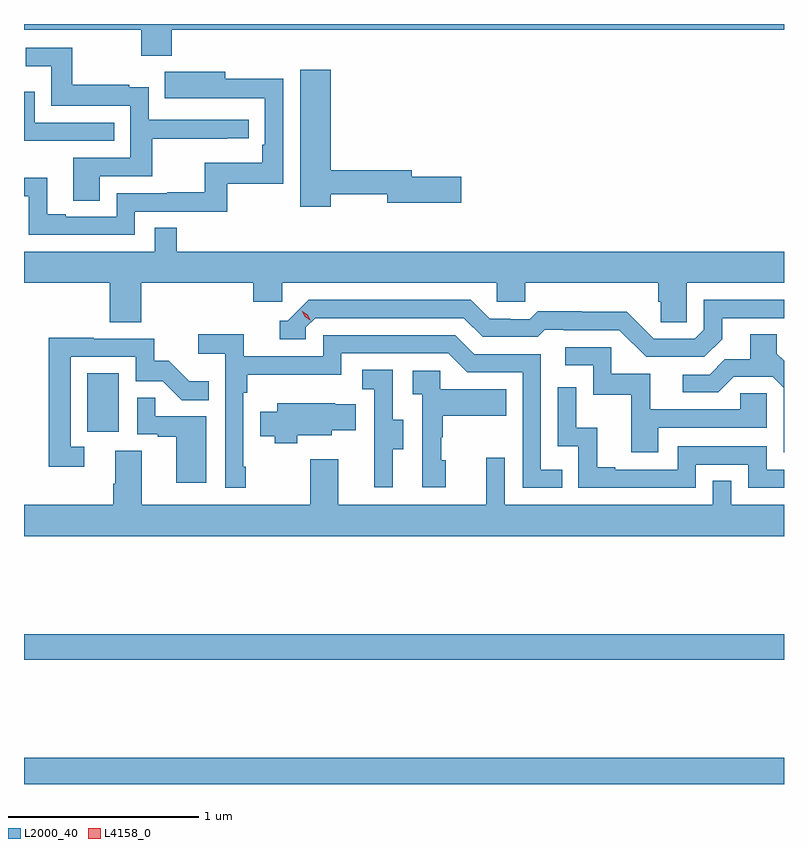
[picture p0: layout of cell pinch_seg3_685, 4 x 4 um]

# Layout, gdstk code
import gdstk
lib = gdstk.Library(unit=1e-6, precision=1e-09)
def R(c, l, rs):  # rectangles x0, y0, x1, y1
    for r in rs: c.add(gdstk.rectangle(r[:2], r[2:], *l))
def P(c, l, *ps):  # polygons
    for p in ps: c.add(gdstk.Polygon(p, *l))
L2000_40 = (2000, 40)
L4158_0 = (4158, 0)

pinch_seg3_685 = lib.new_cell('pinch_seg3_685')
R(pinch_seg3_685, L2000_40, [(1090.06,671.639,1094.06,671.776), (1090.06,672.292,1094.06,672.428), (1090.394,673.494,1090.558,673.801)])
P(pinch_seg3_685, L2000_40, [(1090.06,675.608),(1090.678,675.608),(1090.678,675.473),(1090.838,675.473),(1090.838,675.608),(1094.06,675.608),(1094.06,675.639),(1090.06,675.639)],
  [(1090.459,674.838),(1090.736,674.838),(1090.736,675.034),(1091.129,675.034),(1091.129,675.039),(1091.242,675.039),(1091.242,675.135),(1090.716,675.135),(1090.716,675.307),(1090.613,675.307),(1090.613,675.319),(1090.315,675.319),(1090.315,675.513),(1090.069,675.513),(1090.069,675.416),(1090.204,675.416),(1090.204,675.21),(1090.62,675.21),(1090.62,674.934),(1090.319,674.934),(1090.319,674.71),(1090.459,674.71)],
  [(1091.674,674.742),(1091.972,674.742),(1091.972,674.699),(1092.361,674.699),(1092.361,674.834),(1092.1,674.834),(1092.1,674.87),(1091.674,674.87),(1091.674,675.397),(1091.513,675.397),(1091.513,674.676),(1091.674,674.676)],
  [(1090.644,674.652),(1091.131,674.652),(1091.131,674.799),(1091.424,674.799),(1091.424,675.35),(1091.119,675.35),(1091.119,675.388),(1090.801,675.388),(1090.801,675.248),(1091.015,675.248),(1091.015,675.249),(1091.328,675.249),(1091.328,675.004),(1091.315,675.004),(1091.315,674.908),(1091.01,674.908),(1091.01,674.753),(1090.813,674.753),(1090.813,674.748),(1090.548,674.748),(1090.548,674.625),(1090.279,674.625),(1090.279,674.638),(1090.183,674.638),(1090.183,674.831),(1090.06,674.831),(1090.06,674.733),(1090.086,674.733),(1090.086,674.529),(1090.644,674.529)],
  [(1090.535,675.12),(1090.116,675.12),(1090.116,675.283),(1090.06,675.283),(1090.06,675.024),(1090.535,675.024)],
  [(1090.676,674.276),(1091.267,674.276),(1091.267,674.178),(1091.418,674.178),(1091.418,674.276),(1092.549,674.276),(1092.549,674.178),(1092.699,674.178),(1092.699,674.276),(1093.397,674.276),(1093.397,674.178),(1093.411,674.178),(1093.411,674.068),(1093.548,674.068),(1093.548,674.276),(1094.06,674.276),(1094.06,674.44),(1090.865,674.44),(1090.865,674.567),(1090.749,674.567),(1090.749,674.44),(1090.06,674.44),(1090.06,674.276),(1090.511,674.276),(1090.511,674.068),(1090.676,674.068)],
  [(1093.735,673.981),(1093.735,674.091),(1094.06,674.091),(1094.06,674.187),(1093.638,674.187),(1093.638,674.031),(1093.59,673.983),(1093.374,673.983),(1093.232,674.125),(1092.996,674.125),(1092.996,674.128),(1092.763,674.128),(1092.721,674.085),(1092.618,674.085),(1092.618,674.088),(1092.511,674.088),(1092.412,674.187),(1091.559,674.187),(1091.448,674.076),(1091.405,674.076),(1091.405,673.98),(1091.544,673.98),(1091.544,674.043),(1091.592,674.091),(1092.375,674.091),(1092.474,673.992),(1092.763,673.992),(1092.802,674.031),(1092.901,674.031),(1092.901,674.028),(1093.194,674.028),(1093.335,673.887),(1093.641,673.887)],
  [(1094.06,673.867),(1094.023,673.904),(1094.023,674.006),(1093.883,674.006),(1093.883,673.874),(1093.748,673.874),(1093.668,673.794),(1093.527,673.794),(1093.527,673.701),(1093.714,673.701),(1093.795,673.782),(1094.001,673.782),(1094.058,673.725),(1094.058,673.386),(1094.06,673.386)],
  [(1091.227,673.309),(1091.214,673.309),(1091.214,673.697),(1091.234,673.697),(1091.234,673.793),(1091.73,673.793),(1091.73,673.905),(1092.294,673.905),(1092.393,673.806),(1092.684,673.806),(1092.684,673.197),(1092.893,673.197),(1092.893,673.293),(1092.78,673.293),(1092.78,673.902),(1092.43,673.902),(1092.331,674.001),(1091.634,674.001),(1091.634,673.89),(1091.216,673.89),(1091.216,674.006),(1090.977,674.006),(1090.977,673.904),(1091.118,673.904),(1091.118,673.197),(1091.227,673.197)],
  [(1090.378,673.413),(1090.305,673.413),(1090.305,673.887),(1090.647,673.887),(1090.647,673.758),(1090.791,673.758),(1090.889,673.66),(1091.033,673.66),(1091.033,673.759),(1090.929,673.759),(1090.822,673.866),(1090.746,673.866),(1090.746,673.983),(1090.427,673.983),(1090.427,673.988),(1090.189,673.988),(1090.189,673.308),(1090.378,673.308)],
  [(1093.399,673.515),(1093.968,673.515),(1093.968,673.695),(1093.831,673.695),(1093.831,673.611),(1093.357,673.611),(1093.357,673.797),(1093.152,673.797),(1093.152,673.938),(1092.909,673.938),(1092.909,673.842),(1093.056,673.842),(1093.056,673.689),(1093.255,673.689),(1093.255,673.386),(1093.399,673.386)],
  [(1092.001,673.402),(1092.055,673.402),(1092.055,673.557),(1092,673.557),(1092,673.82),(1091.841,673.82),(1091.841,673.717),(1091.904,673.717),(1091.904,673.413),(1091.903,673.413),(1091.903,673.2),(1092.001,673.2)],
  [(1092.28,673.344),(1092.255,673.344),(1092.255,673.463),(1092.265,673.463),(1092.265,673.577),(1092.599,673.577),(1092.599,673.717),(1092.252,673.717),(1092.252,673.815),(1092.105,673.815),(1092.105,673.691),(1092.156,673.691),(1092.156,673.2),(1092.28,673.2)],
  [(1093.596,673.32),(1093.872,673.32),(1093.872,673.197),(1094.06,673.197),(1094.06,673.293),(1093.968,673.293),(1093.968,673.416),(1093.5,673.416),(1093.5,673.293),(1093.171,673.293),(1093.171,673.306),(1093.076,673.306),(1093.076,673.514),(1092.966,673.514),(1092.966,673.726),(1092.87,673.726),(1092.87,673.416),(1092.978,673.416),(1092.978,673.197),(1093.596,673.197)],
  [(1091.02,673.575),(1090.751,673.575),(1090.751,673.673),(1090.656,673.673),(1090.656,673.479),(1090.763,673.479),(1090.763,673.467),(1090.862,673.467),(1090.862,673.224),(1091.02,673.224)],
  [(1091.499,673.475),(1091.679,673.475),(1091.679,673.502),(1091.807,673.502),(1091.807,673.639),(1091.699,673.639),(1091.699,673.642),(1091.393,673.642),(1091.393,673.597),(1091.303,673.597),(1091.303,673.468),(1091.381,673.468),(1091.381,673.433),(1091.499,673.433)],
  [(1094.06,673.108),(1093.782,673.108),(1093.782,673.235),(1093.686,673.235),(1093.686,673.108),(1092.591,673.108),(1092.591,673.357),(1092.494,673.357),(1092.494,673.108),(1091.713,673.108),(1091.713,673.348),(1091.566,673.348),(1091.566,673.108),(1090.681,673.108),(1090.681,673.394),(1090.541,673.394),(1090.541,673.22),(1090.529,673.22),(1090.529,673.108),(1090.06,673.108),(1090.06,672.944),(1094.06,672.944)])
P(pinch_seg3_685, L4158_0, [(1091.568,674.077),(1091.538,674.097),(1091.522,674.13),(1091.522,674.13),(1091.522,674.13),(1091.553,674.11),(1091.568,674.077),(1091.568,674.077)])

lib.write_gds('pinch_seg3_685.gds')
